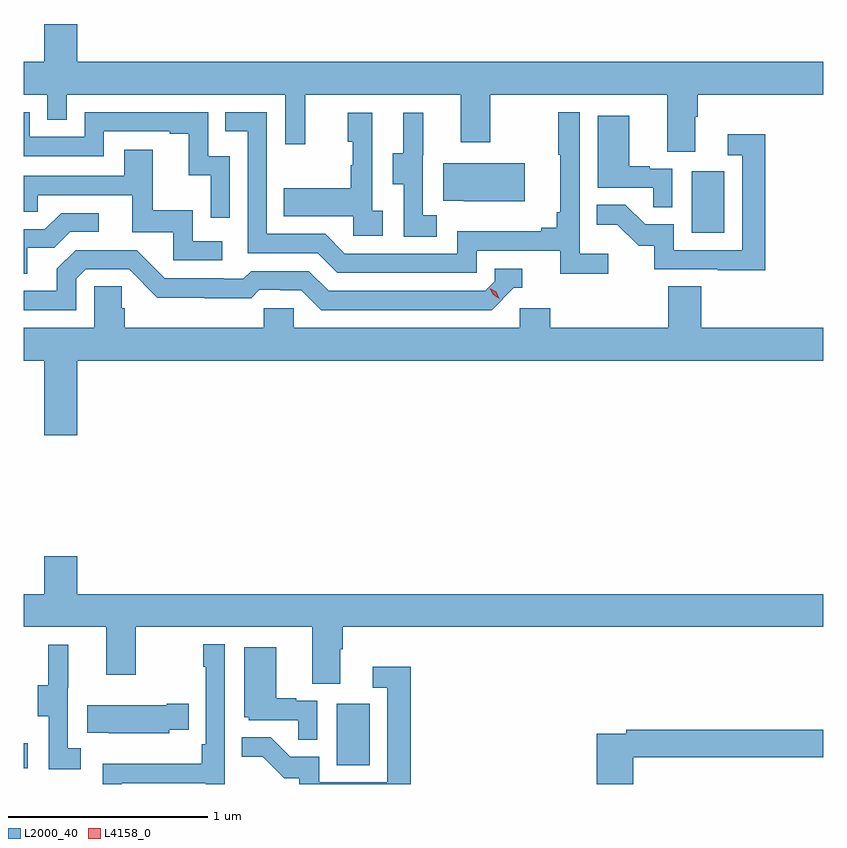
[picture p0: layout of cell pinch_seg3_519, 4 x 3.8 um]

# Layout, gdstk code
import gdstk
lib = gdstk.Library(unit=1e-6, precision=1e-09)
def R(c, l, rs):  # rectangles x0, y0, x1, y1
    for r in rs: c.add(gdstk.rectangle(r[:2], r[2:], *l))
def P(c, l, *ps):  # polygons
    for p in ps: c.add(gdstk.Polygon(p, *l))
L2000_40 = (2000, 40)
L4158_0 = (4158, 0)

pinch_seg3_519 = lib.new_cell('pinch_seg3_519')
R(pinch_seg3_519, L2000_40, [(992.078,677.565,992.098,677.69), (993.644,677.58,993.808,677.887), (995.42,680.244,995.584,680.551)])
P(pinch_seg3_519, L2000_40, [(995.437,680.824),(995.45,680.824),(995.45,680.936),(996.078,680.936),(996.078,681.1),(992.344,681.1),(992.344,681.289),(992.18,681.289),(992.18,681.1),(992.078,681.1),(992.078,680.936),(992.196,680.936),(992.196,680.809),(992.292,680.809),(992.292,680.936),(993.387,680.936),(993.387,680.688),(993.485,680.688),(993.485,680.936),(994.265,680.936),(994.265,680.697),(994.413,680.697),(994.413,680.936),(995.297,680.936),(995.297,680.65),(995.437,680.65)],
  [(995.002,680.14),(994.86,680.14),(994.86,680.848),(994.752,680.848),(994.752,680.635),(994.763,680.635),(994.763,680.347),(994.744,680.347),(994.744,680.27),(994.667,680.27),(994.667,680.251),(994.248,680.251),(994.248,680.139),(993.684,680.139),(993.585,680.238),(993.294,680.238),(993.294,680.847),(993.085,680.847),(993.085,680.751),(993.198,680.751),(993.198,680.142),(993.548,680.142),(993.647,680.043),(994.344,680.043),(994.344,680.154),(994.763,680.154),(994.763,680.038),(995.002,680.038)],
  [(993.108,680.628),(993,680.628),(993,680.847),(992.382,680.847),(992.382,680.724),(992.106,680.724),(992.106,680.847),(992.078,680.847),(992.078,680.628),(992.478,680.628),(992.478,680.751),(992.807,680.751),(992.807,680.739),(992.903,680.739),(992.903,680.531),(993.012,680.531),(993.012,680.319),(993.108,680.319)],
  [(994.144,680.331),(994.074,680.331),(994.074,680.631),(994.076,680.631),(994.076,680.845),(993.977,680.845),(993.977,680.643),(993.923,680.643),(993.923,680.488),(993.978,680.488),(993.978,680.224),(994.144,680.224)],
  [(993.874,680.354),(993.822,680.354),(993.822,680.845),(993.698,680.845),(993.698,680.7),(993.724,680.7),(993.724,680.582),(993.714,680.582),(993.714,680.467),(993.379,680.467),(993.379,680.327),(993.726,680.327),(993.726,680.229),(993.874,680.229)],
  [(995.322,680.565),(995.211,680.565),(995.211,680.578),(995.107,680.578),(995.107,680.83),(994.949,680.83),(994.949,680.469),(995.227,680.469),(995.227,680.371),(995.322,680.371)],
  [(995.789,680.737),(995.601,680.737),(995.601,680.631),(995.673,680.631),(995.673,680.157),(995.331,680.157),(995.331,680.286),(995.187,680.286),(995.089,680.384),(994.945,680.384),(994.945,680.285),(995.049,680.285),(995.156,680.178),(995.233,680.178),(995.233,680.061),(995.551,680.061),(995.551,680.056),(995.789,680.056)],
  [(993.07,680.202),(992.922,680.202),(992.922,680.356),(992.723,680.356),(992.723,680.659),(992.579,680.659),(992.579,680.529),(992.078,680.529),(992.078,680.349),(992.147,680.349),(992.147,680.433),(992.621,680.433),(992.621,680.247),(992.826,680.247),(992.826,680.106),(993.07,680.106)],
  [(994.585,680.593),(994.177,680.593),(994.177,680.405),(994.279,680.405),(994.279,680.402),(994.585,680.402)],
  [(992.095,680.17),(992.23,680.17),(992.31,680.25),(992.452,680.25),(992.452,680.343),(992.264,680.343),(992.183,680.262),(992.078,680.262),(992.078,680.038),(992.095,680.038)],
  [(992.34,680.013),(992.388,680.061),(992.604,680.061),(992.746,679.919),(992.982,679.919),(992.982,679.917),(993.215,679.917),(993.257,679.959),(993.36,679.959),(993.36,679.956),(993.467,679.956),(993.566,679.857),(994.419,679.857),(994.53,679.968),(994.573,679.968),(994.573,680.064),(994.434,680.064),(994.434,680.001),(994.386,679.953),(993.603,679.953),(993.504,680.052),(993.215,680.052),(993.176,680.013),(993.077,680.013),(993.077,680.016),(992.784,680.016),(992.643,680.157),(992.337,680.157),(992.243,680.063),(992.243,679.953),(992.078,679.953),(992.078,679.857),(992.34,679.857)],
  [(992.344,679.604),(996.078,679.604),(996.078,679.768),(995.468,679.768),(995.468,679.976),(995.303,679.976),(995.303,679.768),(994.712,679.768),(994.712,679.866),(994.56,679.866),(994.56,679.768),(993.429,679.768),(993.429,679.866),(993.279,679.866),(993.279,679.768),(992.582,679.768),(992.582,679.866),(992.567,679.866),(992.567,679.976),(992.43,679.976),(992.43,679.768),(992.078,679.768),(992.078,679.604),(992.18,679.604),(992.18,679.23),(992.344,679.23)],
  [(993.661,678.16),(993.674,678.16),(993.674,678.272),(996.078,678.272),(996.078,678.436),(992.344,678.436),(992.344,678.625),(992.18,678.625),(992.18,678.436),(992.078,678.436),(992.078,678.272),(992.489,678.272),(992.489,678.033),(992.637,678.033),(992.637,678.272),(993.521,678.272),(993.521,677.986),(993.661,677.986)],
  [(992.568,677.49),(992.987,677.49),(992.987,677.485),(993.084,677.485),(993.084,678.184),(992.976,678.184),(992.976,678.071),(992.988,678.071),(992.988,677.683),(992.968,677.683),(992.968,677.587),(992.472,677.587),(992.472,677.485),(992.568,677.485)],
  [(992.362,677.663),(992.298,677.663),(992.298,677.967),(992.3,677.967),(992.3,678.181),(992.201,678.181),(992.201,677.979),(992.147,677.979),(992.147,677.824),(992.202,677.824),(992.202,677.56),(992.362,677.56)],
  [(993.546,677.901),(993.44,677.901),(993.44,677.914),(993.34,677.914),(993.34,678.169),(993.182,678.169),(993.182,677.82),(993.204,677.82),(993.204,677.805),(993.451,677.805),(993.451,677.707),(993.546,677.707)],
  [(994.013,678.073),(993.825,678.073),(993.825,677.967),(993.897,677.967),(993.897,677.493),(993.555,677.493),(993.555,677.622),(993.411,677.622),(993.313,677.72),(993.169,677.72),(993.169,677.621),(993.273,677.621),(993.38,677.514),(993.457,677.514),(993.457,677.485),(994.013,677.485)],
  [(992.805,677.756),(992.903,677.756),(992.903,677.886),(992.792,677.886),(992.792,677.878),(992.395,677.878),(992.395,677.741),(992.503,677.741),(992.503,677.738),(992.805,677.738)],
  [(995.129,677.62),(996.078,677.62),(996.078,677.756),(995.092,677.756),(995.092,677.736),(994.946,677.736),(994.946,677.485),(995.129,677.485)])
P(pinch_seg3_519, L4158_0, [(994.457,679.915),(994.426,679.934),(994.41,679.967),(994.41,679.967),(994.41,679.967),(994.441,679.948),(994.457,679.915),(994.457,679.915)])

lib.write_gds('pinch_seg3_519.gds')
